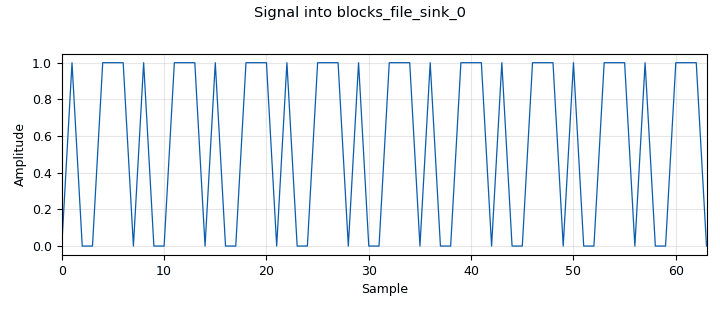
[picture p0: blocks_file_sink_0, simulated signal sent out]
<?xml version='1.0' encoding='utf-8'?>
<?grc format='1' created='3.7.11'?>
<flow_graph>
<block>
<key>options</key>
<param><key>id</key><value>Signal_Generator2</value></param>
<param><key>author</key><value>Yifang Chen</value></param>
<param><key>description</key><value>Generate 2 bits infomation as digital signal </value></param>
<param><key>generate_options</key><value>qt_gui</value></param>
</block>
<block>
<key>variable</key>
<param><key>id</key><value>GLFSR_degree</value></param>
<param><key>value</key><value>3</value></param>
</block>
<block>
<key>variable</key>
<param><key>id</key><value>dst</value></param>
<param><key>value</key><value>'C:\\Users\\cheny\\Documents\\Body-Area-Communication\\General Lib\\Files\\'</value></param>
</block>
<block>
<key>variable</key>
<param><key>id</key><value>file_name</value></param>
<param><key>value</key><value>dst+"GLFSR_"+str(GLFSR_degree)+"_"+str(rand_seed)+"_"+str(length)+"_"+str(int(samp_rate/1e3))+'K'</value></param>
</block>
<block>
<key>variable</key>
<param><key>id</key><value>length</value></param>
<param><key>value</key><value>2**14</value></param>
</block>
<block>
<key>variable</key>
<param><key>id</key><value>rand_seed</value></param>
<param><key>value</key><value>1</value></param>
</block>
<block>
<key>variable</key>
<param><key>id</key><value>samp_rate</value></param>
<param><key>value</key><value>20e6</value></param>
</block>
<block>
<key>blocks_file_sink</key>
<param><key>id</key><value>blocks_file_sink_0</value></param>
<param><key>file</key><value>file_name</value></param>
<param><key>type</key><value>byte</value></param>
</block>
<block>
<key>blocks_head</key>
<param><key>id</key><value>blocks_head_0</value></param>
<param><key>num_items</key><value>length</value></param>
<param><key>type</key><value>byte</value></param>
</block>
<block>
<key>blocks_throttle</key>
<param><key>id</key><value>blocks_throttle_0</value></param>
<param><key>samples_per_second</key><value>samp_rate</value></param>
<param><key>type</key><value>byte</value></param>
</block>
<block>
<key>digital_glfsr_source_x</key>
<param><key>id</key><value>digital_glfsr_source_x_0</value></param>
<param><key>degree</key><value>GLFSR_degree</value></param>
<param><key>mask</key><value>0</value></param>
<param><key>repeat</key><value>True</value></param>
<param><key>seed</key><value>rand_seed</value></param>
<param><key>type</key><value>byte</value></param>
</block>
<connection><source_block_id>blocks_head_0</source_block_id><sink_block_id>blocks_file_sink_0</sink_block_id><source_key>0</source_key><sink_key>0</sink_key></connection>
<connection><source_block_id>blocks_throttle_0</source_block_id><sink_block_id>blocks_head_0</sink_block_id><source_key>0</source_key><sink_key>0</sink_key></connection>
<connection><source_block_id>digital_glfsr_source_x_0</source_block_id><sink_block_id>blocks_throttle_0</sink_block_id><source_key>0</source_key><sink_key>0</sink_key></connection>
</flow_graph>
